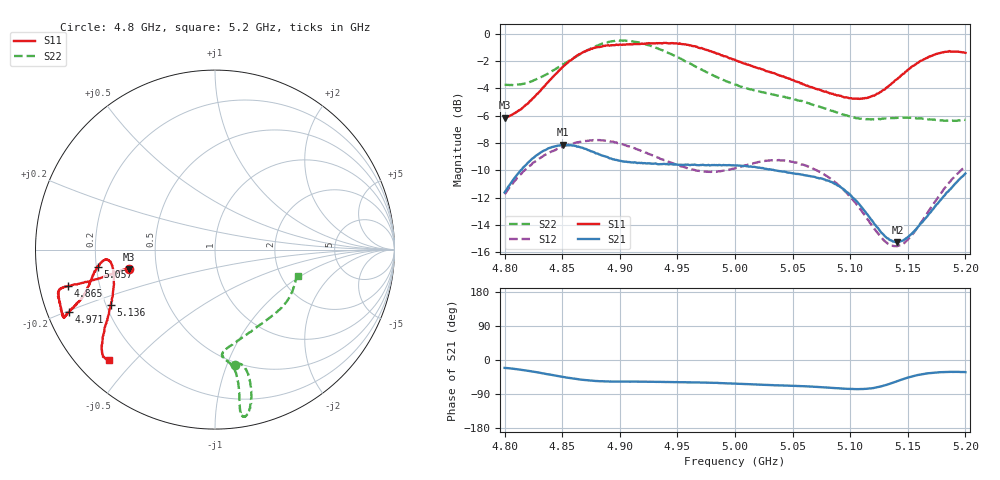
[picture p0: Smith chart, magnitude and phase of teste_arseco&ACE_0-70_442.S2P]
! Network Analyzer HP8722D
! Hewlett-Packard
! Data name: Linha & Wilkinson
! Saver's name: Rodrigo Anjos
! Comments: Teste da utilização de aquisição
! continua pelo VNA HP8722D
! Time and date: 8/5/2025 16:26
!  Frequency  S11  S21  S12  S22
# HZ  S  MA R 50
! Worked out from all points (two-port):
!   401 points, 4.8 GHz to 5.2 GHz, reference 50 ohm
!   highest |S21| = -8.11 dB at 4.851 GHz (marker M1); lowest = -15.2 dB at 5.141 GHz (marker M2)
!   |S21| within 3 dB of the highest: 4.804 GHz to 5.089 GHz (285.4 MHz wide, 5.77 % of centre); 5.189691 GHz to end of sweep
!   lowest |S11| = -6.1 dB at 4.8 GHz (marker M3), VSWR 2.95, Z = 17.2 - j4.88 ohm
!   |S11| at or under -10 dB: nowhere
!   |S22| runs from -6.4 to -0.5 dB; largest |S21 - S12| = 0.62
!   S11 on the Smith chart (normalised r, x): 4.8 GHz: 0.34, -0.10; 4.865 GHz: 0.09, -0.12; 4.971 GHz: 0.06, -0.20; 5.057 GHz: 0.21, -0.07; 5.136 GHz: 0.22, -0.24; 5.2 GHz: 0.09, -0.42
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4.8e9  0.4931 -167.4  0.2629 -20.9  0.259 -142.0  0.6518 -80.2
4.821e9  0.5606 -167.1  0.3397 -28.9  0.3267 -145.2  0.6636 -76.4
4.851e9  0.7596 -165.9  0.3932 -44.9  0.3867 -150.6  0.7736 -75.2
4.865e9  0.8425 -166.1  0.3852 -51.2  0.4023 -152.8  0.84 -76.0
4.867e9  0.8511 -166.1  0.3833 -52.1  0.4034 -153.1  0.8497 -76.2
4.879e9  0.8907 -165.8  0.3653 -55.4  0.4078 -155.0  0.8991 -77.4
4.898e9  0.9102 -163.2  0.3447 -56.9  0.3979 -157.1  0.9431 -79.6
4.934e9  0.9242 -156.6  0.3332 -57.9  0.3515 -156.0  0.8792 -81.0
4.971e9  0.8874 -156.8  0.331 -59.7  0.3139 -146.8  0.7404 -80.1
5e9  0.8026 -159.5  0.33 -62.4  0.3224 -137.8  0.6518 -81.8
5.032e9  0.7198 -165.2  0.3181 -66.3  0.3446 -135.1  0.6004 -85.7
5.057e9  0.6579 -171.6  0.3056 -68.9  0.3336 -136.9  0.5684 -85.0
5.067e9  0.6368 -173.7  0.3006 -70.1  0.3233 -138.0  0.5515 -82.6
5.083e9  0.6048 -174.7  0.2872 -73.4  0.2947 -139.3  0.5242 -76.5
5.101e9  0.5813 -171.5  0.2552 -76.5  0.2504 -139.4  0.4975 -65.8
5.116e9  0.5856 -164.3  0.2152 -75.6  0.2073 -135.2  0.4868 -55.0
5.134e9  0.6476 -153.2  0.1765 -63.3  0.1696 -118.7  0.4917 -42.8
5.136e9  0.6581 -152.1  0.1752 -61.1  0.1678 -116.1  0.4913 -41.6
5.141e9  0.6838 -149.5  0.173 -55.6  0.1672 -109.5  0.4931 -38.7
5.154e9  0.7613 -144.0  0.1868 -43.1  0.1843 -93.7  0.4923 -32.1
5.174e9  0.8419 -138.5  0.2345 -33.0  0.2449 -80.5  0.484 -23.9
5.2e9  0.8516 -133.9  0.3083 -32.2  0.3266 -77.7  0.4839 -17.7
